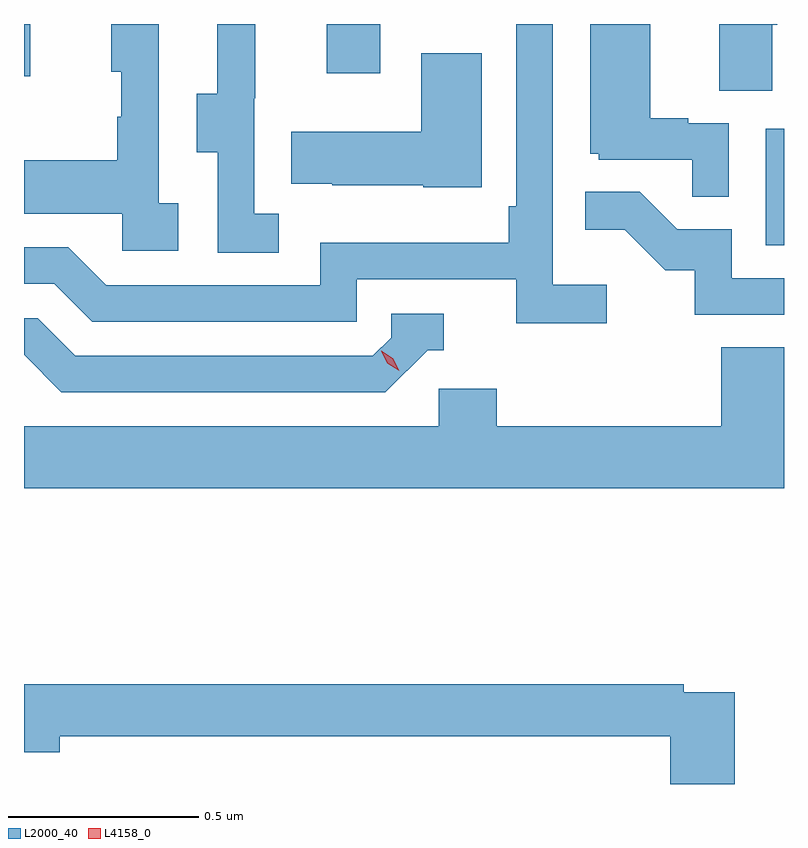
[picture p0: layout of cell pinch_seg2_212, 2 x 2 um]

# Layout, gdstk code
import gdstk
lib = gdstk.Library(unit=1e-6, precision=1e-09)
def R(c, l, rs):  # rectangles x0, y0, x1, y1
    for r in rs: c.add(gdstk.rectangle(r[:2], r[2:], *l))
def P(c, l, *ps):  # polygons
    for p in ps: c.add(gdstk.Polygon(p, *l))
L2000_40 = (2000, 40)
L4158_0 = (4158, 0)

pinch_seg2_212 = lib.new_cell('pinch_seg2_212')
R(pinch_seg2_212, L2000_40, [(971.666,650.94,971.714,651.247), (969.714,651.384,969.731,651.522), (970.511,651.393,970.651,651.522)])
P(pinch_seg2_212, L2000_40, [(970.384,651.023),(970.32,651.023),(970.32,651.327),(970.322,651.327),(970.322,651.522),(970.223,651.522),(970.223,651.339),(970.169,651.339),(970.169,651.184),(970.224,651.184),(970.224,650.92),(970.384,650.92)],
  [(971.683,651.52),(971.696,651.52),(971.696,651.522),(971.543,651.522),(971.543,651.346),(971.683,651.346)],
  [(970.12,651.05),(970.068,651.05),(970.068,651.522),(969.944,651.522),(969.944,651.396),(969.97,651.396),(969.97,651.278),(969.96,651.278),(969.96,651.163),(969.714,651.163),(969.714,651.023),(969.972,651.023),(969.972,650.925),(970.12,650.925)],
  [(971.568,651.261),(971.462,651.261),(971.462,651.274),(971.362,651.274),(971.362,651.522),(971.204,651.522),(971.204,651.18),(971.226,651.18),(971.226,651.165),(971.473,651.165),(971.473,651.067),(971.568,651.067)],
  [(971.248,650.836),(971.106,650.836),(971.106,651.522),(971.01,651.522),(971.01,651.043),(970.99,651.043),(970.99,650.947),(970.494,650.947),(970.494,650.835),(969.93,650.835),(969.831,650.934),(969.714,650.934),(969.714,650.838),(969.794,650.838),(969.893,650.739),(970.59,650.739),(970.59,650.85),(971.009,650.85),(971.009,650.734),(971.248,650.734)],
  [(970.918,651.445),(970.76,651.445),(970.76,651.238),(970.417,651.238),(970.417,651.101),(970.525,651.101),(970.525,651.098),(970.764,651.098),(970.764,651.092),(970.918,651.092)],
  [(971.714,650.853),(971.577,650.853),(971.577,650.982),(971.433,650.982),(971.335,651.08),(971.191,651.08),(971.191,650.981),(971.295,650.981),(971.402,650.874),(971.479,650.874),(971.479,650.757),(971.714,650.757)],
  [(970.776,650.664),(970.819,650.664),(970.819,650.76),(970.68,650.76),(970.68,650.697),(970.632,650.649),(969.849,650.649),(969.75,650.748),(969.714,650.748),(969.714,650.651),(969.812,650.553),(970.665,650.553)],
  [(971.714,650.672),(971.549,650.672),(971.549,650.464),(970.958,650.464),(970.958,650.562),(970.806,650.562),(970.806,650.464),(969.714,650.464),(969.714,650.3),(971.714,650.3)],
  [(971.584,649.764),(971.45,649.764),(971.45,649.784),(969.714,649.784),(969.714,649.606),(969.808,649.606),(969.808,649.648),(971.414,649.648),(971.414,649.522),(971.584,649.522)])
P(pinch_seg2_212, L4158_0, [(970.701,650.609),(970.67,650.629),(970.654,650.661),(970.654,650.662),(970.654,650.662),(970.685,650.642),(970.702,650.61),(970.702,650.609)])

lib.write_gds('pinch_seg2_212.gds')
